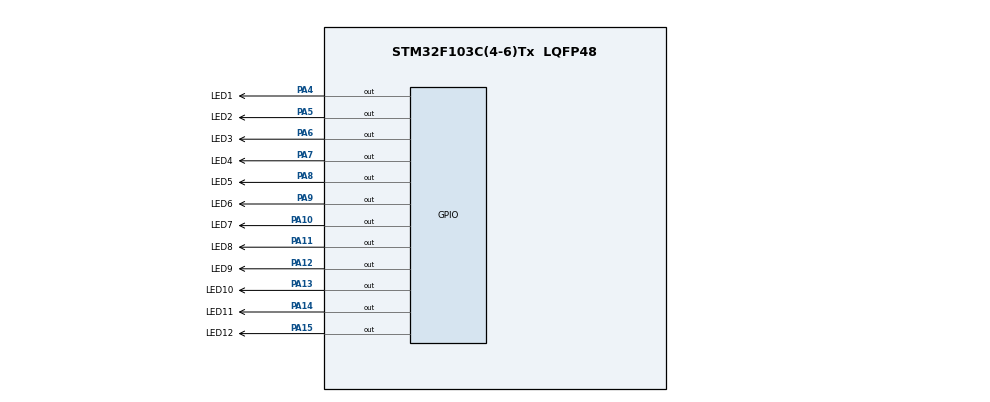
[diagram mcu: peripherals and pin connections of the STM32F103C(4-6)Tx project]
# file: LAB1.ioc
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Mcu.Family=STM32F1
Mcu.Name=STM32F103C(4-6)Tx
Mcu.Package=LQFP48
NVIC.PriorityGroup=NVIC_PRIORITYGROUP_4
NVIC.TIM2_IRQn=true\:0\:0\:false\:false\:true\:true\:true\:true
PA10.GPIO_Label=LED7
PA10.Signal=GPIO_Output
PA11.GPIO_Label=LED8
PA11.Signal=GPIO_Output
PA12.GPIO_Label=LED9
PA12.Signal=GPIO_Output
PA13.GPIO_Label=LED10
PA13.Signal=GPIO_Output
PA14.GPIO_Label=LED11
PA14.Signal=GPIO_Output
PA15.GPIO_Label=LED12
PA15.Signal=GPIO_Output
PA4.GPIO_Label=LED1
PA4.Signal=GPIO_Output
PA5.GPIO_Label=LED2
PA5.Signal=GPIO_Output
PA6.GPIO_Label=LED3
PA6.Signal=GPIO_Output
PA7.GPIO_Label=LED4
PA7.Signal=GPIO_Output
PA8.GPIO_Label=LED5
PA8.Signal=GPIO_Output
PA9.GPIO_Label=LED6
PA9.Signal=GPIO_Output
ProjectManager.HeapSize=0x200
ProjectManager.StackSize=0x400
ProjectManager.TargetToolchain=Makefile
RCC.APB1Freq_Value=8000000
RCC.APB2Freq_Value=8000000
TIM2.Period=9
TIM2.Prescaler=7999
VP_SYS_VS_ND.Mode=No_Debug
VP_TIM2_VS_ClockSourceINT.Mode=Internal
board=custom

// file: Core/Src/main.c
/* USER CODE BEGIN Header */
/**
 ******************************************************************************
 * @file           : main.c
 * @brief          : Main program body
 ******************************************************************************
 * @attention
 *
 * Copyright (c) 2023 STMicroelectronics.
 * All rights reserved.
 *
 * This software is licensed under terms that can be found in the LICENSE file
 * in the root directory of this software component.
 * If no LICENSE file comes with this software, it is provided AS-IS.
 *
 ******************************************************************************
 */
/* USER CODE END Header */
#include "main.h"

/* USER CODE BEGIN Includes */
#include "software_time.h"
/* USER CODE END Includes */

TIM_HandleTypeDef htim2;

void SystemClock_Config(void);
static void MX_GPIO_Init(void);
static void MX_TIM2_Init(void);

/* USER CODE BEGIN 0 */
uint16_t pinArr[] = {LED1_Pin, LED2_Pin, LED3_Pin, LED4_Pin, LED5_Pin,
                     LED6_Pin, LED7_Pin, LED8_Pin, LED9_Pin, LED10_Pin, LED11_Pin, LED12_Pin};

GPIO_TypeDef *portArr[] = {LED1_GPIO_Port, LED2_GPIO_Port, LED3_GPIO_Port, LED4_GPIO_Port,
                           LED5_GPIO_Port, LED6_GPIO_Port, LED7_GPIO_Port, LED8_GPIO_Port, LED9_GPIO_Port,
                           LED10_GPIO_Port, LED11_GPIO_Port, LED12_GPIO_Port};
void clearAllCLock()
{
  HAL_GPIO_WritePin(portArr[0], pinArr[0], 1);
  HAL_GPIO_WritePin(portArr[1], pinArr[1], 1);
  HAL_GPIO_WritePin(portArr[2], pinArr[2], 1);
  HAL_GPIO_WritePin(portArr[3], pinArr[3], 1);
  HAL_GPIO_WritePin(portArr[4], pinArr[4], 1);
  HAL_GPIO_WritePin(portArr[5], pinArr[5], 1);
  HAL_GPIO_WritePin(portArr[6], pinArr[6], 1);
  HAL_GPIO_WritePin(portArr[7], pinArr[7], 1);
  HAL_GPIO_WritePin(portArr[8], pinArr[8], 1);
  HAL_GPIO_WritePin(portArr[9], pinArr[9], 1);
  HAL_GPIO_WritePin(portArr[10], pinArr[10], 1);
  HAL_GPIO_WritePin(portArr[11], pinArr[11], 1);
}
void setNumberOnClock(int num)
{
  HAL_GPIO_WritePin(portArr[num], pinArr[num], 0);
}
void clearNumberOnClock(int num)
{
  HAL_GPIO_WritePin(portArr[num], pinArr[num], 1);
}

/* USER CODE END 0 */

int main(void)
{

  /* MCU Configuration--------------------------------------------------------*/

  /* Reset of all peripherals, Initializes the Flash interface and the Systick. */
  HAL_Init();

  /* Configure the system clock */
  SystemClock_Config();

  /* Initialize all configured peripherals */
  MX_GPIO_Init();
  MX_TIM2_Init();
  /* USER CODE BEGIN 2 */
  HAL_TIM_Base_Start_IT(&htim2);
  /* USER CODE END 2 */

  /* Infinite loop */
  /* USER CODE BEGIN WHILE */
  clearAllCLock();
  int second = 30, minute = 59, hour = 23;
  second /= 5;
  minute /= 5;
  hour /= 2;
  setNumberOnClock(second);
  setNumberOnClock(minute);
  setNumberOnClock(hour);
  int timer = 100;
  int count = 4;
  setTimer1(timer);
  while (1)
  {
    if (timer1_flag == 1)
    {
      if (count != 0)
      {
        count--;
      }
      else
      {
        count = 4;
        if (second != minute && second != hour)
        {
          clearNumberOnClock(second);
        }
        second++;
        if (second > 11)
        {
          second = 0;
          clearNumberOnClock(minute);
          minute++;
        }
        if (minute > 11)
        {
          minute = 0;
          clearNumberOnClock(hour);
          hour++;
        }
        if (hour > 11)
          hour = 0;
        setNumberOnClock(hour);
        setNumberOnClock(minute);
        setNumberOnClock(second);
      }
      setTimer1(timer);
    }
    /* USER CODE END WHILE */

  }
}

void SystemClock_Config(void)
{
  RCC_OscInitTypeDef RCC_OscInitStruct = {0};
  RCC_ClkInitTypeDef RCC_ClkInitStruct = {0};

  /** Initializes the RCC Oscillators according to the specified parameters
   * in the RCC_OscInitTypeDef structure.
   */
  RCC_OscInitStruct.OscillatorType = RCC_OSCILLATORTYPE_HSI;
  RCC_OscInitStruct.HSIState = RCC_HSI_ON;
  RCC_OscInitStruct.HSICalibrationValue = RCC_HSICALIBRATION_DEFAULT;
  RCC_OscInitStruct.PLL.PLLState = RCC_PLL_NONE;
  if (HAL_RCC_OscConfig(&RCC_OscInitStruct) != HAL_OK)
  {
    Error_Handler();
  }

  /** Initializes the CPU, AHB and APB buses clocks
   */
  RCC_ClkInitStruct.ClockType = RCC_CLOCKTYPE_HCLK | RCC_CLOCKTYPE_SYSCLK | RCC_CLOCKTYPE_PCLK1 | RCC_CLOCKTYPE_PCLK2;
  RCC_ClkInitStruct.SYSCLKSource = RCC_SYSCLKSOURCE_HSI;
  RCC_ClkInitStruct.AHBCLKDivider = RCC_SYSCLK_DIV1;
  RCC_ClkInitStruct.APB1CLKDivider = RCC_HCLK_DIV1;
  RCC_ClkInitStruct.APB2CLKDivider = RCC_HCLK_DIV1;

  if (HAL_RCC_ClockConfig(&RCC_ClkInitStruct, FLASH_LATENCY_0) != HAL_OK)
  {
    Error_Handler();
  }
}

static void MX_TIM2_Init(void)
{

  TIM_ClockConfigTypeDef sClockSourceConfig = {0};
  TIM_MasterConfigTypeDef sMasterConfig = {0};

  htim2.Instance = TIM2;
  htim2.Init.Prescaler = 7999;
  htim2.Init.CounterMode = TIM_COUNTERMODE_UP;
  htim2.Init.Period = 9;
  htim2.Init.ClockDivision = TIM_CLOCKDIVISION_DIV1;
  htim2.Init.AutoReloadPreload = TIM_AUTORELOAD_PRELOAD_DISABLE;
  if (HAL_TIM_Base_Init(&htim2) != HAL_OK)
  {
    Error_Handler();
  }
  sClockSourceConfig.ClockSource = TIM_CLOCKSOURCE_INTERNAL;
  if (HAL_TIM_ConfigClockSource(&htim2, &sClockSourceConfig) != HAL_OK)
  {
    Error_Handler();
  }
  sMasterConfig.MasterOutputTrigger = TIM_TRGO_RESET;
  sMasterConfig.MasterSlaveMode = TIM_MASTERSLAVEMODE_DISABLE;
  if (HAL_TIMEx_MasterConfigSynchronization(&htim2, &sMasterConfig) != HAL_OK)
  {
    Error_Handler();
  }
}

static void MX_GPIO_Init(void)
{
  GPIO_InitTypeDef GPIO_InitStruct = {0};

  /* GPIO Ports Clock Enable */
  __HAL_RCC_GPIOA_CLK_ENABLE();

  /*Configure GPIO pin Output Level */
  HAL_GPIO_WritePin(GPIOA, LED1_Pin | LED2_Pin | LED3_Pin | LED4_Pin | LED5_Pin | LED6_Pin | LED7_Pin | LED8_Pin | LED9_Pin | LED10_Pin | LED11_Pin | LED12_Pin, GPIO_PIN_RESET);

  /*Configure GPIO pins : LED1_Pin LED2_Pin LED3_Pin LED4_Pin
                           LED5_Pin LED6_Pin LED7_Pin LED8_Pin
                           LED9_Pin LED10_Pin LED11_Pin LED12_Pin */
  GPIO_InitStruct.Pin = LED1_Pin | LED2_Pin | LED3_Pin | LED4_Pin | LED5_Pin | LED6_Pin | LED7_Pin | LED8_Pin | LED9_Pin | LED10_Pin | LED11_Pin | LED12_Pin;
  GPIO_InitStruct.Mode = GPIO_MODE_OUTPUT_PP;
  GPIO_InitStruct.Pull = GPIO_NOPULL;
  GPIO_InitStruct.Speed = GPIO_SPEED_FREQ_LOW;
  HAL_GPIO_Init(GPIOA, &GPIO_InitStruct);

}

/* USER CODE BEGIN 4 */
void HAL_TIM_PeriodElapsedCallback(TIM_HandleTypeDef *htim)
{
  timerRun();
}
/* USER CODE END 4 */

void Error_Handler(void)
{
  __disable_irq();
  while (1)
  {
  }
}
